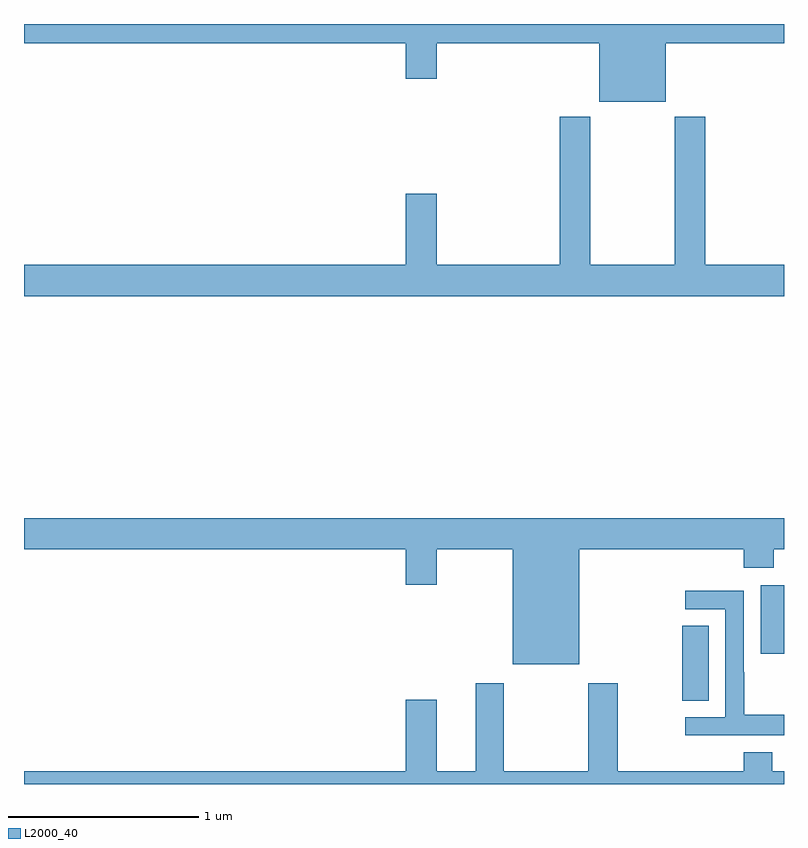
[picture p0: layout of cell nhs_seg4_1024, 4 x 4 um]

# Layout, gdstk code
import gdstk
lib = gdstk.Library(unit=1e-6, precision=1e-09)
def R(c, l, rs):  # rectangles x0, y0, x1, y1
    for r in rs: c.add(gdstk.rectangle(r[:2], r[2:], *l))
def P(c, l, *ps):  # polygons
    for p in ps: c.add(gdstk.Polygon(p, *l))
L2000_40 = (2000, 40)

nhs_seg4_1024 = lib.new_cell('nhs_seg4_1024')
R(nhs_seg4_1024, L2000_40, [(166.465,813.337,166.603,813.734), (166.877,813.585,167,813.946)])
P(nhs_seg4_1024, L2000_40, [(166.378,816.8),(167,816.8),(167,816.9),(163,816.9),(163,816.8),(165.008,816.8),(165.008,816.612),(165.172,816.612),(165.172,816.8),(166.028,816.8),(166.028,816.491),(166.378,816.491)],
  [(167,815.632),(166.586,815.632),(166.586,816.412),(166.426,816.412),(166.426,815.632),(165.981,815.632),(165.981,816.412),(165.821,816.412),(165.821,815.632),(165.172,815.632),(165.172,816.007),(165.008,816.007),(165.008,815.632),(163,815.632),(163,815.468),(167,815.468)],
  [(165.922,814.136),(166.787,814.136),(166.787,814.037),(166.947,814.037),(166.947,814.136),(167,814.136),(167,814.3),(163,814.3),(163,814.136),(165.008,814.136),(165.008,813.948),(165.172,813.948),(165.172,814.136),(165.572,814.136),(165.572,813.53),(165.922,813.53)],
  [(167,813.265),(166.791,813.265),(166.791,813.488),(166.788,813.488),(166.788,813.918),(166.479,813.918),(166.479,813.819),(166.692,813.819),(166.692,813.252),(166.479,813.252),(166.479,813.156),(167,813.156)],
  [(167,812.968),(166.939,812.968),(166.939,813.067),(166.787,813.067),(166.787,812.968),(166.125,812.968),(166.125,813.43),(165.97,813.43),(165.97,812.968),(165.525,812.968),(165.525,813.43),(165.377,813.43),(165.377,812.968),(165.172,812.968),(165.172,813.343),(165.008,813.343),(165.008,812.968),(163,812.968),(163,812.9),(167,812.9)])

lib.write_gds('nhs_seg4_1024.gds')
